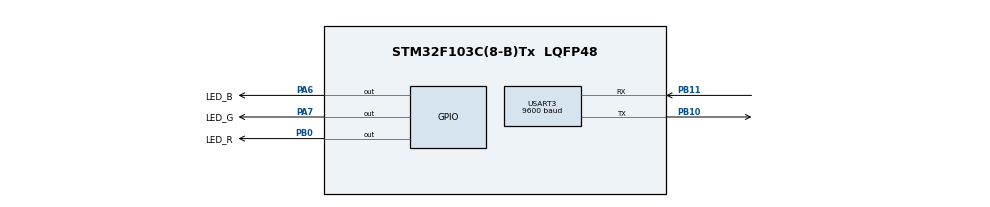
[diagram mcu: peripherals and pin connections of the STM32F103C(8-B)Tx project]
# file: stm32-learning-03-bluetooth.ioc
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Dma.Request0=USART3_RX
Dma.Request1=USART3_TX
Dma.USART3_RX.0.Direction=DMA_PERIPH_TO_MEMORY
Dma.USART3_RX.0.Instance=DMA1_Channel3
Dma.USART3_RX.0.MemDataAlignment=DMA_MDATAALIGN_BYTE
Dma.USART3_RX.0.MemInc=DMA_MINC_ENABLE
Dma.USART3_RX.0.Mode=DMA_NORMAL
Dma.USART3_RX.0.PeriphDataAlignment=DMA_PDATAALIGN_BYTE
Dma.USART3_RX.0.PeriphInc=DMA_PINC_DISABLE
Dma.USART3_RX.0.Priority=DMA_PRIORITY_LOW
Dma.USART3_TX.1.Direction=DMA_MEMORY_TO_PERIPH
Dma.USART3_TX.1.Instance=DMA1_Channel2
Dma.USART3_TX.1.MemDataAlignment=DMA_MDATAALIGN_BYTE
Dma.USART3_TX.1.MemInc=DMA_MINC_ENABLE
Dma.USART3_TX.1.Mode=DMA_NORMAL
Dma.USART3_TX.1.PeriphDataAlignment=DMA_PDATAALIGN_BYTE
Dma.USART3_TX.1.PeriphInc=DMA_PINC_DISABLE
Dma.USART3_TX.1.Priority=DMA_PRIORITY_LOW
Mcu.Family=STM32F1
Mcu.Name=STM32F103C(8-B)Tx
Mcu.Package=LQFP48
NVIC.DMA1_Channel2_IRQn=true\:0\:0\:false\:false\:true\:false\:true\:true
NVIC.DMA1_Channel3_IRQn=true\:0\:0\:false\:false\:true\:false\:true\:true
NVIC.PriorityGroup=NVIC_PRIORITYGROUP_4
NVIC.USART3_IRQn=true\:8\:0\:true\:false\:true\:false\:true\:true
PA13.Mode=Serial_Wire
PA13.Signal=SYS_JTMS-SWDIO
PA14.Mode=Serial_Wire
PA14.Signal=SYS_JTCK-SWCLK
PA6.GPIO_Label=LED_B
PA6.Signal=GPIO_Output
PA7.GPIO_Label=LED_G
PA7.Signal=GPIO_Output
PB0.GPIO_Label=LED_R
PB0.Signal=GPIO_Output
PB10.Mode=Asynchronous
PB10.Signal=USART3_TX
PB11.Mode=Asynchronous
PB11.Signal=USART3_RX
ProjectManager.HeapSize=0x200
ProjectManager.StackSize=0x400
ProjectManager.TargetToolchain=CMake
RCC.APB1Freq_Value=8000000
RCC.APB2Freq_Value=8000000
USART3.BaudRate=9600
USART3.VirtualMode=VM_ASYNC
board=custom

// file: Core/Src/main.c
/* USER CODE BEGIN Header */
/**
 ******************************************************************************
 * @file           : main.c
 * @brief          : Main program body
 ******************************************************************************
 * @attention
 *
 * Copyright (c) 2026 STMicroelectronics.
 * All rights reserved.
 *
 * This software is licensed under terms that can be found in the LICENSE file
 * in the root directory of this software component.
 * If no LICENSE file comes with this software, it is provided AS-IS.
 *
 ******************************************************************************
 */
/* USER CODE END Header */
#include "main.h"

UART_HandleTypeDef huart3;
DMA_HandleTypeDef hdma_usart3_rx;
DMA_HandleTypeDef hdma_usart3_tx;

/* USER CODE BEGIN PV */

uint8_t recv_msg[256];
uint8_t xmit_msg[256];

GPIO_TypeDef *led_port[] = {LED_R_GPIO_Port, LED_G_GPIO_Port, LED_B_GPIO_Port};
uint16_t led_pin[] = {LED_R_Pin, LED_G_Pin, LED_B_Pin};
uint8_t led_state[] = {0x00, 0x00, 0x00};
const uint8_t led_count = 3;

/* USER CODE END PV */

void SystemClock_Config(void);
static void MX_GPIO_Init(void);
static void MX_DMA_Init(void);
static void MX_USART3_UART_Init(void);
/* USER CODE BEGIN PFP */

// GPIO_PinState HAL_GPIO_ReadOutputPin(GPIO_TypeDef *GPIOx, uint16_t GPIO_Pin)
// {
//   if ((GPIOx)->ODR & GPIO_Pin != 0u)
//     return GPIO_PIN_SET;
//   else
//     return GPIO_PIN_RESET
// }

void startRecv(void);
void startXmit(void);

uint8_t inspRecvMsg(uint8_t);
void procRecvMsg(uint8_t);
uint8_t genXmitMsg(void);
void updateLed(void);

/* USER CODE END PFP */

int main(void) {

  /* MCU Configuration--------------------------------------------------------*/

  /* Reset of all peripherals, Initializes the Flash interface and the Systick.
   */
  HAL_Init();

  /* Configure the system clock */
  SystemClock_Config();

  /* Initialize all configured peripherals */
  MX_GPIO_Init();
  MX_DMA_Init();
  MX_USART3_UART_Init();
  /* USER CODE BEGIN 2 */

  startXmit();
  startRecv();

  /* USER CODE END 2 */

  /* Infinite loop */
  /* USER CODE BEGIN WHILE */
  while (1) {

    updateLed();

    /* USER CODE END WHILE */

  }
}

void SystemClock_Config(void) {
  RCC_OscInitTypeDef RCC_OscInitStruct = {0};
  RCC_ClkInitTypeDef RCC_ClkInitStruct = {0};

  /** Initializes the RCC Oscillators according to the specified parameters
   * in the RCC_OscInitTypeDef structure.
   */
  RCC_OscInitStruct.OscillatorType = RCC_OSCILLATORTYPE_HSI;
  RCC_OscInitStruct.HSIState = RCC_HSI_ON;
  RCC_OscInitStruct.HSICalibrationValue = RCC_HSICALIBRATION_DEFAULT;
  RCC_OscInitStruct.PLL.PLLState = RCC_PLL_NONE;
  if (HAL_RCC_OscConfig(&RCC_OscInitStruct) != HAL_OK) {
    Error_Handler();
  }

  /** Initializes the CPU, AHB and APB buses clocks
   */
  RCC_ClkInitStruct.ClockType = RCC_CLOCKTYPE_HCLK | RCC_CLOCKTYPE_SYSCLK |
                                RCC_CLOCKTYPE_PCLK1 | RCC_CLOCKTYPE_PCLK2;
  RCC_ClkInitStruct.SYSCLKSource = RCC_SYSCLKSOURCE_HSI;
  RCC_ClkInitStruct.AHBCLKDivider = RCC_SYSCLK_DIV1;
  RCC_ClkInitStruct.APB1CLKDivider = RCC_HCLK_DIV1;
  RCC_ClkInitStruct.APB2CLKDivider = RCC_HCLK_DIV1;

  if (HAL_RCC_ClockConfig(&RCC_ClkInitStruct, FLASH_LATENCY_0) != HAL_OK) {
    Error_Handler();
  }
}

static void MX_USART3_UART_Init(void) {

  huart3.Instance = USART3;
  huart3.Init.BaudRate = 9600;
  huart3.Init.WordLength = UART_WORDLENGTH_8B;
  huart3.Init.StopBits = UART_STOPBITS_1;
  huart3.Init.Parity = UART_PARITY_NONE;
  huart3.Init.Mode = UART_MODE_TX_RX;
  huart3.Init.HwFlowCtl = UART_HWCONTROL_NONE;
  huart3.Init.OverSampling = UART_OVERSAMPLING_16;
  if (HAL_UART_Init(&huart3) != HAL_OK) {
    Error_Handler();
  }
}

static void MX_DMA_Init(void) {

  /* DMA controller clock enable */
  __HAL_RCC_DMA1_CLK_ENABLE();

  /* DMA interrupt init */
  /* DMA1_Channel2_IRQn interrupt configuration */
  HAL_NVIC_SetPriority(DMA1_Channel2_IRQn, 0, 0);
  HAL_NVIC_EnableIRQ(DMA1_Channel2_IRQn);
  /* DMA1_Channel3_IRQn interrupt configuration */
  HAL_NVIC_SetPriority(DMA1_Channel3_IRQn, 0, 0);
  HAL_NVIC_EnableIRQ(DMA1_Channel3_IRQn);
}

static void MX_GPIO_Init(void) {
  GPIO_InitTypeDef GPIO_InitStruct = {0};

  /* GPIO Ports Clock Enable */
  __HAL_RCC_GPIOA_CLK_ENABLE();
  __HAL_RCC_GPIOB_CLK_ENABLE();

  /*Configure GPIO pin Output Level */
  HAL_GPIO_WritePin(GPIOA, LED_B_Pin | LED_G_Pin, GPIO_PIN_RESET);

  /*Configure GPIO pin Output Level */
  HAL_GPIO_WritePin(LED_R_GPIO_Port, LED_R_Pin, GPIO_PIN_RESET);

  /*Configure GPIO pins : LED_B_Pin LED_G_Pin */
  GPIO_InitStruct.Pin = LED_B_Pin | LED_G_Pin;
  GPIO_InitStruct.Mode = GPIO_MODE_OUTPUT_PP;
  GPIO_InitStruct.Pull = GPIO_NOPULL;
  GPIO_InitStruct.Speed = GPIO_SPEED_FREQ_LOW;
  HAL_GPIO_Init(GPIOA, &GPIO_InitStruct);

  /*Configure GPIO pin : LED_R_Pin */
  GPIO_InitStruct.Pin = LED_R_Pin;
  GPIO_InitStruct.Mode = GPIO_MODE_OUTPUT_PP;
  GPIO_InitStruct.Pull = GPIO_NOPULL;
  GPIO_InitStruct.Speed = GPIO_SPEED_FREQ_LOW;
  HAL_GPIO_Init(LED_R_GPIO_Port, &GPIO_InitStruct);

}

/* USER CODE BEGIN 4 */

void startRecv(void) {
  HAL_UARTEx_ReceiveToIdle_DMA(&huart3, recv_msg, sizeof(recv_msg));
  __HAL_DMA_DISABLE_IT(&hdma_usart3_rx, DMA_IT_HT);
}

void startXmit(void) {
  const uint8_t xmit_msg_size = genXmitMsg();
  HAL_UART_Transmit_DMA(&huart3, xmit_msg, xmit_msg_size);
}

uint8_t inspRecvMsg(uint8_t size) {
  uint8_t sum = 0;
  if (recv_msg[1] != size)
    return 0;
  for (uint8_t i = 0; i < size - 1; ++i)
    sum += recv_msg[i];
  if (recv_msg[size - 1] != sum)
    return 0;
  if (recv_msg[0] != 0x0C || recv_msg[size - 2] != 0x0A)
    return 0;
  return 1;
}

void procRecvMsg(uint8_t size) {
  for (uint8_t i = 0; i < size - 4; i += 2) {
    uint8_t idx = recv_msg[2 + i];
    uint8_t state = recv_msg[3 + i];
    led_state[idx] = state;
  }
}

uint8_t genXmitMsg(void) {
  uint8_t cur = 0, sum = 0;
  xmit_msg[cur++] = 0x1C;
  xmit_msg[cur++] = 2 + 2 * led_count + 2;
  for (uint8_t i = 0; i < led_count; ++i) {
    xmit_msg[cur++] = i;
    xmit_msg[cur++] = led_state[i];
  }
  xmit_msg[cur++] = 0x1A;
  for (uint8_t i = 0; i < cur; ++i)
    sum += xmit_msg[i];
  xmit_msg[cur++] = sum;
  return cur;
}

void updateLed(void) {
  for (uint8_t i = 0; i < led_count; ++i)
    HAL_GPIO_WritePin(led_port[i], led_pin[i], led_state[i] ? 1 : 0);
}

void HAL_UARTEx_RxEventCallback(UART_HandleTypeDef *huart, uint16_t Size) {
  if (huart == &huart3) {
    if (inspRecvMsg(Size)) {
      procRecvMsg(Size);
      startXmit();
    }
    startRecv();
  }
}

/* USER CODE END 4 */

void Error_Handler(void) {
  __disable_irq();
  while (1) {
  }
}
#ifdef USE_FULL_ASSERT
/**
 * @brief  Reports the name of the source file and the source line number
 *         where the assert_param error has occurred.
 * @param  file: pointer to the source file name
 * @param  line: assert_param error line source number
 * @retval None
 */
void assert_failed(uint8_t *file, uint32_t line) {
  /* USER CODE BEGIN 6 */
  /* User can add his own implementation to report the file name and line
     number, ex: printf("Wrong parameters value: file %s on line %d\r\n", file,
     line) */
  /* USER CODE END 6 */
}
#endif /* USE_FULL_ASSERT */
